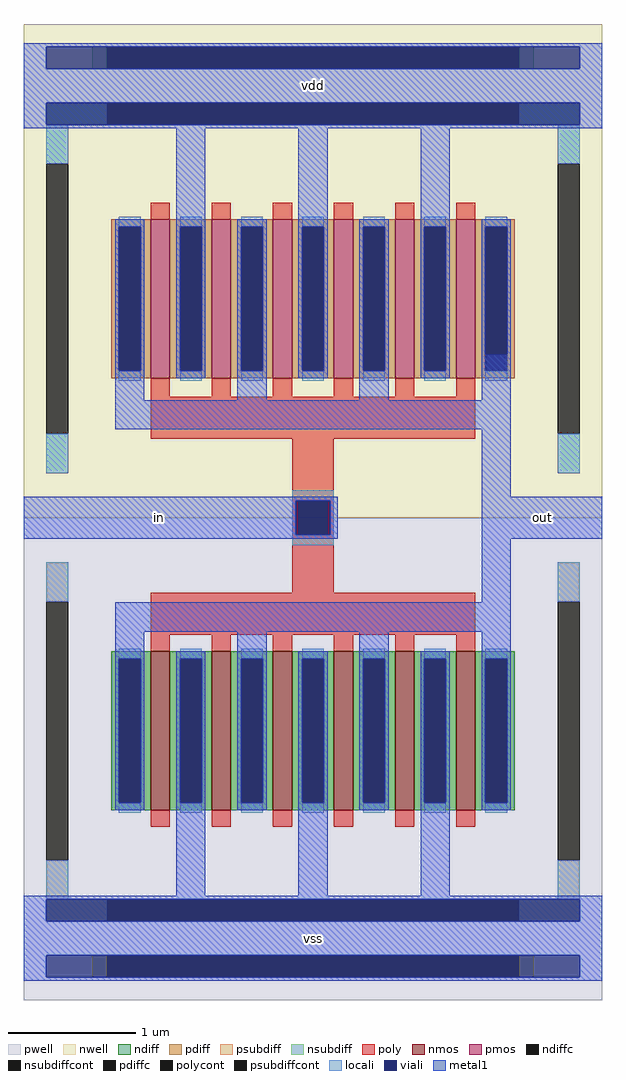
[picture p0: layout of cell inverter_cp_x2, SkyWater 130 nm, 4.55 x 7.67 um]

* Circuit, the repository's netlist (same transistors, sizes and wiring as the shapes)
**.subckt inverter_cp_x2 vss in out vdd
*.iopin vss
*.ipin in
*.opin out
*.iopin vdd
XM2 out in vdd vdd sky130_fd_pr__pfet_01v8 L=0.15 W=1.25 nf=1 ad='int((nf+1)/2) * W/nf * 0.29' as='int((nf+2)/2) * W/nf * 0.29'
+ pd='2*int((nf+1)/2) * (W/nf + 0.29)' ps='2*int((nf+2)/2) * (W/nf + 0.29)' nrd='0.29 / W' nrs='0.29 / W'
+ sa=0 sb=0 sd=0 mult=6 m=6 
XM1 out in vss vss sky130_fd_pr__nfet_01v8 L=0.15 W=1.25 nf=1 ad='int((nf+1)/2) * W/nf * 0.29' as='int((nf+2)/2) * W/nf * 0.29'
+ pd='2*int((nf+1)/2) * (W/nf + 0.29)' ps='2*int((nf+2)/2) * (W/nf + 0.29)' nrd='0.29 / W' nrs='0.29 / W'
+ sa=0 sb=0 sd=0 mult=6 m=6 
**.ends
** flattened .save nodes
.end

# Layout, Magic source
magic
tech sky130A
magscale 1 2
<< nwell >>
rect 0 0 910 776
<< pwell >>
rect 0 -758 910 0
<< psubdiff >>
rect 108 -722 132 -688
rect 778 -722 802 -688
<< nsubdiff >>
rect 108 706 132 740
rect 778 706 802 740
<< psubdiffcont >>
rect 132 -722 778 -688
<< nsubdiffcont >>
rect 132 706 778 740
<< poly >>
rect 200 124 710 190
rect 422 27 488 124
rect 422 -27 432 27
rect 478 -27 488 27
rect 422 -118 488 -27
rect 200 -184 710 -118
<< polycont >>
rect 432 -27 478 27
<< locali >>
rect 422 27 488 43
rect 422 -27 428 27
rect 482 -27 488 27
rect 422 -43 488 -27
<< viali >>
rect 36 706 132 740
rect 132 706 778 740
rect 778 706 874 740
rect 36 618 874 652
rect 428 -27 432 27
rect 432 -27 478 27
rect 478 -27 482 27
rect 36 -634 874 -600
rect 36 -722 132 -688
rect 132 -722 778 -688
rect 778 -722 874 -688
<< metal1 >>
rect 0 740 910 746
rect 0 706 36 740
rect 874 706 910 740
rect 0 652 910 706
rect 0 618 36 652
rect 874 618 910 652
rect 0 612 910 618
rect 240 469 286 612
rect 432 468 478 612
rect 624 468 670 612
rect 144 185 190 231
rect 336 185 382 227
rect 528 185 574 224
rect 720 185 766 256
rect 144 139 766 185
rect 720 33 766 139
rect 0 27 494 33
rect 0 -27 428 27
rect 482 -27 494 27
rect 0 -33 494 -27
rect 720 -33 910 33
rect 720 -133 766 -33
rect 144 -179 766 -133
rect 144 -210 190 -179
rect 336 -222 382 -179
rect 528 -222 574 -179
rect 720 -214 766 -179
rect 240 -594 286 -458
rect 432 -594 478 -453
rect 624 -594 670 -450
rect 0 -600 910 -594
rect 0 -634 36 -600
rect 874 -634 910 -600
rect 0 -688 910 -634
rect 0 -722 36 -688
rect 874 -722 910 -688
rect 0 -728 910 -722
use sky130_fd_pr__pfet_01v8_XJXT7S  sky130_fd_pr__pfet_01v8_XJXT7S_0
transform 1 0 455 0 1 344
box -455 -344 455 344
use sky130_fd_pr__nfet_01v8_AZESM8  sky130_fd_pr__nfet_01v8_AZESM8_0
transform 1 0 455 0 1 -335
box -455 -335 455 335
<< labels >>
rlabel metal1 0 -33 428 33 1 in
rlabel metal1 720 -33 910 33 1 out
rlabel metal1 0 -688 910 -634 1 vss
rlabel metal1 0 652 910 706 1 vdd
<< end >>

# cell sky130_fd_pr__pfet_01v8_XJXT7S: kit device sky130_fd_pr__pfet_01v8, w 1.25 l 0.15 m 1 nf 6 diffcov 100 polycov 100 guard 1 glc 1 grc 1 gtc 1 gbc 1 tbcov 100 rlcov 100 topc 1 botc 1 poverlap 0 doverlap 1 lmin 0.15 wmin 0.42 compatible {sky130_fd_pr__pfet_01v8 sky130_fd_pr__pfet_01v8_lvt sky130_fd_pr__pfet_01v8_hvt sky130_fd_pr__pfet_g5v0d10v5} full_metal 1 viasrc 100 viadrn 100 viagate 100 viagb 0 viagr 0 viagl 0 viagt 0

# cell sky130_fd_pr__nfet_01v8_AZESM8: kit device sky130_fd_pr__nfet_01v8, w 1.25 l 0.150 m 1 nf 6 diffcov 100 polycov 100 guard 1 glc 1 grc 1 gtc 1 gbc 1 tbcov 100 rlcov 100 topc 1 botc 1 poverlap 0 doverlap 1 lmin 0.15 wmin 0.42 compatible {sky130_fd_pr__nfet_01v8 sky130_fd_pr__nfet_01v8_lvt sky130_fd_bs_flash__special_sonosfet_star sky130_fd_pr__nfet_g5v0d10v5 sky130_fd_pr__nfet_05v0_nvt sky130_fd_pr__nfet_03v3_nvt} full_metal 1 viasrc 100 viadrn 100 viagate 100 viagb 0 viagr 0 viagl 0 viagt 0
